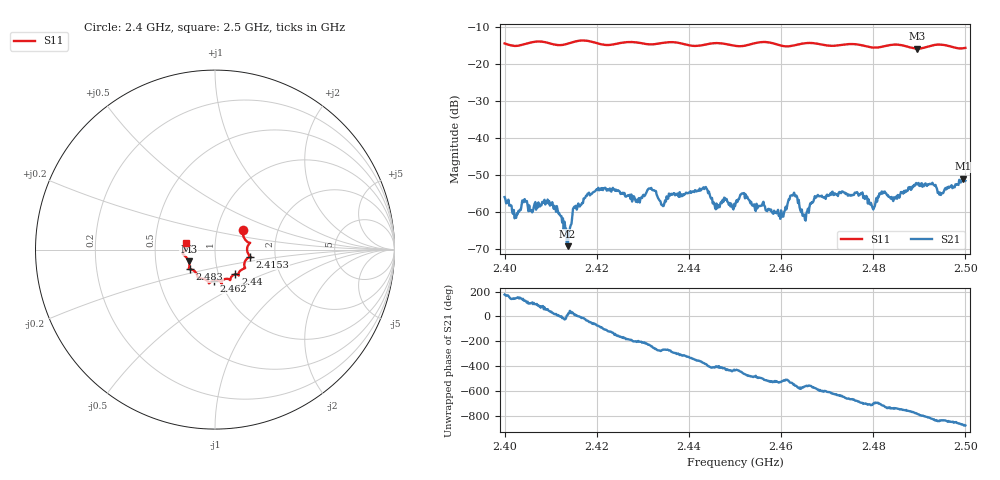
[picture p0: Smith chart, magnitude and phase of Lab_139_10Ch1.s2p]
# Hz S RI R 50
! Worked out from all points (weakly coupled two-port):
!   601 points, 2.4 GHz to 2.5 GHz, reference 50 ohm
!   highest |S21| = -51.00 dB at 2.4995 GHz (marker M1); lowest = -69.3 dB at 2.4137 GHz (marker M2)
!   lowest |S11| = -15.9 dB at 2.4895 GHz (marker M3), VSWR 1.38, Z = 36.9 - j4.99 ohm
!   |S11| at or under -10 dB: start of sweep to end of sweep
!   S12 and S22 are empty: the file has one direction only
!   S11 on the Smith chart (normalised r, x): 2.4 GHz: 1.33, +0.29; 2.4153 GHz: 1.48, -0.12; 2.44 GHz: 1.20, -0.34; 2.462 GHz: 0.93, -0.33; 2.483 GHz: 0.74, -0.17; 2.5 GHz: 0.72, +0.06
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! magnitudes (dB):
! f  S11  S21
! 2.4 GHz  -14.5  -56.0
! 2.4023 GHz  -15.2  -61.4
! 2.4043 GHz  -14.7  -56.5
! 2.4098 GHz  -14.5  -58.3
! 2.4137 GHz  -14.6  -69.3
! 2.4153 GHz  -14.0  -58.9
! 2.4167 GHz  -13.7  -58.0
! 2.4213 GHz  -14.8  -54.1
! 2.4333 GHz  -14.6  -56.3
! 2.44 GHz  -15.0  -54.8
! 2.45 GHz  -15.1  -58.5
! 2.4518 GHz  -15.2  -54.9
! 2.46 GHz  -15.1  -59.6
! 2.462 GHz  -15.2  -55.6
! 2.4652 GHz  -14.4  -62.0
! 2.4667 GHz  -14.4  -57.4
! 2.483 GHz  -15.1  -55.5
! 2.4833 GHz  -15.0  -55.9
! 2.4895 GHz  -15.9  -52.6
! 2.4947 GHz  -14.8  -55.4
! 2.4995 GHz  -15.8  -51.0
! 2.5 GHz  -15.7  -51.6
